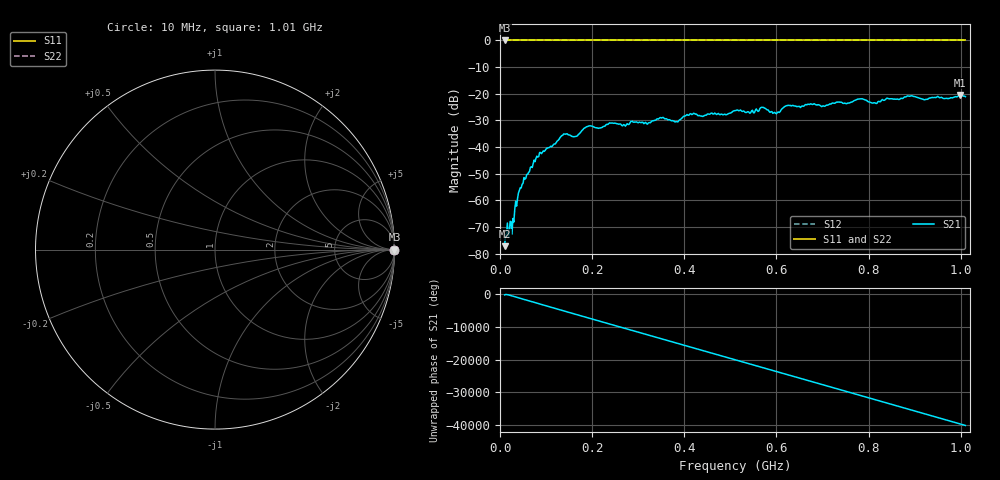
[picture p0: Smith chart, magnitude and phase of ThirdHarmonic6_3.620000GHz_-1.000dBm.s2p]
! 8/17/2025 12:06:59 PM
! C:\ANRITSUVNA\TEMP\TEMP.S2P
! CHANNEL.1
! TR.MEASUREMENT
! RAW.DATA
! RF.CORRECTION.OFF
! AVERAGING.OFF
! IF.BANDWIDTH: 5KHZ
! SWEEPTYPE:  FREQ.SWEEP(Linear)
! Reference Plane Port Info
! PORT:  PORT1  PORT2
! DISTANCE:  0  m  0  m
! TIME:  0  s  0  s
! PHASE.OFFSET:  0  deg.  0  deg.
! LOSS:  0  dB  0  dB
! REF.LOSS:  0  dB  0  dB
! REF.FREQ:  0  Hz  0  Hz
! Power Info
! POWER:  -20  dBm  -20  dBm
! EFF.POWER:  -20  dBm  -20  dBm
! SOURCE.ATTEN:  0  dB  0  dB
! TEST.ATTEN:  0  dB  0  dB
# GHZ S RI R 50.0
! FREQ.GHZ  S11RE  S11IM  S21RE  S21IM  S12RE  S12IM  S22RE  S22IM
!; PortSelection: Port_12
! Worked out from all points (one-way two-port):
!   501 points, 10 MHz to 1.01 GHz, reference 50 ohm
!   highest |S21| = -20.46 dB at 998 MHz (marker M1); lowest = -77.2 dB at 10 MHz (marker M2)
!   lowest |S11| = 0.0 dB at 10 MHz (marker M3)
!   |S11| at or under -10 dB: nowhere
!   |S22| runs from 0.0 to 0.0 dB; largest |S21 - S12| = 1.1
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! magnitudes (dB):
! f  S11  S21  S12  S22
! 10 MHz  0.0  -77.2  0.0  0.0
! 28 MHz  0.0  -66.9  0.0  0.0
! 44 MHz  0.0  -55.3  0.0  0.0
! 76 MHz  0.0  -45.5  0.0  0.0
! 136 MHz  0.0  -35.7  0.0  0.0
! 164 MHz  0.0  -36.0  0.0  0.0
! 178 MHz  0.0  -33.8  0.0  0.0
! 194 MHz  0.0  -32.1  0.0  0.0
! 322 MHz  0.0  -31.0  0.0  0.0
! 344 MHz  0.0  -29.5  0.0  0.0
! 382 MHz  0.0  -30.5  0.0  0.0
! 416 MHz  0.0  -27.8  0.0  0.0
! 510 MHz  0.0  -26.4  0.0  0.0
! 570 MHz  0.0  -25.1  0.0  0.0
! 596 MHz  0.0  -27.0  0.0  0.0
! 622 MHz  0.0  -24.5  0.0  0.0
! 678 MHz  0.0  -24.0  0.0  0.0
! 782 MHz  0.0  -21.9  0.0  0.0
! 814 MHz  0.0  -23.4  0.0  0.0
! 844 MHz  0.0  -21.9  0.0  0.0
! 998 MHz  0.0  -20.5  0.0  0.0
! 1.01 GHz  0.0  -21.1  0.0  0.0
